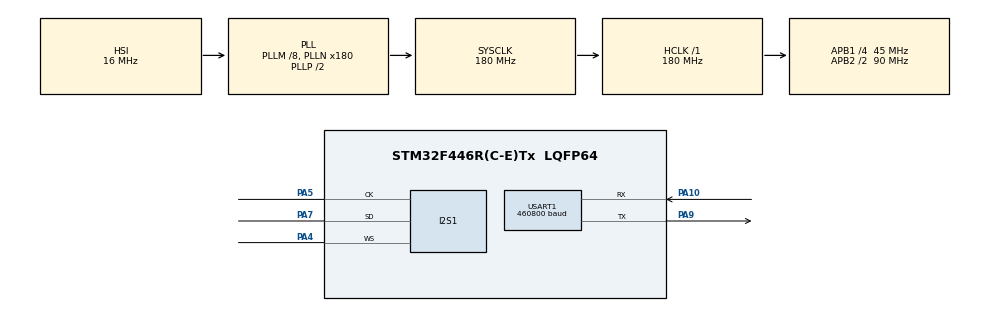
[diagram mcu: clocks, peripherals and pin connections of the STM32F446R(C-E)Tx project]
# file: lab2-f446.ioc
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Dma.Request0=SPI1_RX
Dma.Request1=USART1_TX
Dma.SPI1_RX.0.Direction=DMA_PERIPH_TO_MEMORY
Dma.SPI1_RX.0.FIFOMode=DMA_FIFOMODE_DISABLE
Dma.SPI1_RX.0.Instance=DMA2_Stream2
Dma.SPI1_RX.0.MemDataAlignment=DMA_MDATAALIGN_HALFWORD
Dma.SPI1_RX.0.MemInc=DMA_MINC_ENABLE
Dma.SPI1_RX.0.Mode=DMA_CIRCULAR
Dma.SPI1_RX.0.PeriphDataAlignment=DMA_PDATAALIGN_HALFWORD
Dma.SPI1_RX.0.PeriphInc=DMA_PINC_DISABLE
Dma.SPI1_RX.0.Priority=DMA_PRIORITY_LOW
Dma.USART1_TX.1.Direction=DMA_MEMORY_TO_PERIPH
Dma.USART1_TX.1.FIFOMode=DMA_FIFOMODE_DISABLE
Dma.USART1_TX.1.Instance=DMA2_Stream7
Dma.USART1_TX.1.MemDataAlignment=DMA_MDATAALIGN_BYTE
Dma.USART1_TX.1.MemInc=DMA_MINC_ENABLE
Dma.USART1_TX.1.Mode=DMA_NORMAL
Dma.USART1_TX.1.PeriphDataAlignment=DMA_PDATAALIGN_BYTE
Dma.USART1_TX.1.PeriphInc=DMA_PINC_DISABLE
Dma.USART1_TX.1.Priority=DMA_PRIORITY_LOW
I2S1.AudioFreq=I2S_AUDIOFREQ_16K
I2S1.DataFormat=I2S_DATAFORMAT_24B
I2S1.ErrorAudioFreq=-0.26 %
I2S1.FullDuplexMode=I2S_FULLDUPLEXMODE_DISABLE
I2S1.Instance=SPI$Index
I2S1.Mode=I2S_MODE_MASTER_RX
I2S1.RealAudioFreq=15.957 KHz
I2S1.VirtualMode=I2S_MODE_MASTER
Mcu.Family=STM32F4
Mcu.Name=STM32F446R(C-E)Tx
Mcu.Package=LQFP64
NVIC.DMA2_Stream2_IRQn=true\:0\:0\:false\:false\:true\:false\:true\:true
NVIC.DMA2_Stream7_IRQn=true\:0\:0\:false\:false\:true\:false\:true\:true
NVIC.PriorityGroup=NVIC_PRIORITYGROUP_4
NVIC.SPI1_IRQn=true\:0\:0\:false\:false\:true\:true\:true\:true
NVIC.USART1_IRQn=true\:0\:0\:false\:false\:true\:false\:true\:true
PA10.Mode=Asynchronous
PA10.Signal=USART1_RX
PA13.Mode=Serial_Wire
PA13.Signal=SYS_JTMS-SWDIO
PA14.Mode=Serial_Wire
PA14.Signal=SYS_JTCK-SWCLK
PA4.Mode=Half_Duplex_Master
PA4.Signal=I2S1_WS
PA5.Mode=Half_Duplex_Master
PA5.Signal=I2S1_CK
PA7.Mode=Half_Duplex_Master
PA7.Signal=I2S1_SD
PA9.Mode=Asynchronous
PA9.Signal=USART1_TX
PC14-OSC32_IN.Mode=LSE-External-Oscillator
PC14-OSC32_IN.Signal=RCC_OSC32_IN
PC15-OSC32_OUT.Mode=LSE-External-Oscillator
PC15-OSC32_OUT.Signal=RCC_OSC32_OUT
PH0-OSC_IN.Mode=HSE-External-Oscillator
PH0-OSC_IN.Signal=RCC_OSC_IN
PH1-OSC_OUT.Mode=HSE-External-Oscillator
PH1-OSC_OUT.Signal=RCC_OSC_OUT
ProjectManager.HeapSize=0x200
ProjectManager.StackSize=0x400
ProjectManager.TargetToolchain=CMake
RCC.AHBFreq_Value=180000000
RCC.APB1CLKDivider=RCC_HCLK_DIV4
RCC.APB1Freq_Value=45000000
RCC.APB1TimFreq_Value=90000000
RCC.APB2CLKDivider=RCC_HCLK_DIV2
RCC.APB2Freq_Value=90000000
RCC.APB2TimFreq_Value=180000000
RCC.CortexFreq_Value=180000000
RCC.HCLKFreq_Value=180000000
RCC.PLLM=8
RCC.PLLN=180
RCC.SYSCLKFreq_VALUE=180000000
RCC.SYSCLKSource=RCC_SYSCLKSOURCE_PLLCLK
RCC.USBFreq_Value=180000000
RCC.VCOOutputFreq_Value=360000000
USART1.BaudRate=460800
USART1.VirtualMode=VM_ASYNC
board=custom

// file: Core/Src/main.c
/* USER CODE BEGIN Header */
/**
  ******************************************************************************
  * @file           : main.c
  * @brief          : Main program body
  ******************************************************************************
  * @attention
  *
  * Copyright (c) 2026 STMicroelectronics.
  * All rights reserved.
  *
  * This software is licensed under terms that can be found in the LICENSE file
  * in the root directory of this software component.
  * If no LICENSE file comes with this software, it is provided AS-IS.
  *
  ******************************************************************************
  */
/* USER CODE END Header */
#include "main.h"

/* USER CODE BEGIN Includes */

#include "arm_math.h"
#include <stdio.h>

/* USER CODE END Includes */

/* USER CODE BEGIN PD */

#define FFT_SAMPLES 512
#define I2S_BUFFER_SIZE (FFT_SAMPLES * 8)

/* USER CODE END PD */

I2S_HandleTypeDef hi2s1;
DMA_HandleTypeDef hdma_spi1_rx;

UART_HandleTypeDef huart1;
DMA_HandleTypeDef hdma_usart1_tx;

/* USER CODE BEGIN PV */

int16_t i2sRxBuffer[I2S_BUFFER_SIZE];

float32_t fftInputBuffer[FFT_SAMPLES];
float32_t fftOutputBuffer[FFT_SAMPLES];
float32_t fftMagnitudeBuffer[FFT_SAMPLES / 2];
float32_t windowBuffer[FFT_SAMPLES];

arm_rfft_fast_instance_f32 fftHandler;

volatile uint8_t dataReadyFlag = 0;
volatile uint8_t bufferOffset = 0;

/* USER CODE END PV */

void SystemClock_Config(void);
static void MX_GPIO_Init(void);
static void MX_DMA_Init(void);
static void MX_I2S1_Init(void);
static void MX_USART1_UART_Init(void);
/* USER CODE BEGIN PFP */

void DSP_Init(void);
void ProcessAudioData(void);

/* USER CODE END PFP */

/* USER CODE BEGIN 0 */

void DSP_Init(void)
{
    arm_rfft_fast_init_f32(&fftHandler, FFT_SAMPLES);

    for (uint32_t i = 0; i < FFT_SAMPLES; i++)
    {
        windowBuffer[i] = 0.5f * (1.0f - arm_cos_f32(2.0f * PI * (float32_t)i / (float32_t)(FFT_SAMPLES - 1)));
    }
}

void ProcessAudioData(void)
{
    uint32_t startIndex = (bufferOffset == 1) ? (I2S_BUFFER_SIZE / 2) : 0;

    for (uint32_t i = 0; i < FFT_SAMPLES; i++)
    {
        uint32_t index = startIndex + (i * 4);
        int16_t msb = i2sRxBuffer[index];
        uint16_t lsb = (uint16_t)i2sRxBuffer[index + 1];

        int32_t combined = ((int32_t)msb << 16) | lsb;
        fftInputBuffer[i] = (float32_t)(combined >> 8);
    }

    float32_t sum = 0.0f;
    for (uint32_t i = 0; i < FFT_SAMPLES; i++) sum += fftInputBuffer[i];
    float32_t meanValue = sum / (float32_t)FFT_SAMPLES;
    for (uint32_t i = 0; i < FFT_SAMPLES; i++) fftInputBuffer[i] -= meanValue;

    arm_mult_f32(fftInputBuffer, windowBuffer, fftInputBuffer, FFT_SAMPLES);
    arm_rfft_fast_f32(&fftHandler, fftInputBuffer, fftOutputBuffer, 0);
    arm_cmplx_mag_f32(fftOutputBuffer, fftMagnitudeBuffer, FFT_SAMPLES / 2);

    dataReadyFlag = 0;
}

void SendSpectrum_UART(void)
{
    char uartBuf[16];
    uint16_t len;
    for (uint32_t i = 0; i < (FFT_SAMPLES / 2); i++)
    {
        uint32_t magnitude = (uint32_t)fftMagnitudeBuffer[i];
        if (i == (FFT_SAMPLES / 2) - 1)
            len = snprintf(uartBuf, sizeof(uartBuf), "%lu\r\n", magnitude);
        else
            len = snprintf(uartBuf, sizeof(uartBuf), "%lu,", magnitude);
        HAL_UART_Transmit(&huart1, (uint8_t *)uartBuf, len, HAL_MAX_DELAY);
    }
}

void HAL_I2S_RxHalfCpltCallback(I2S_HandleTypeDef *hi2s)
{
    if (hi2s->Instance == SPI1)
    {
        bufferOffset = 0;
        dataReadyFlag = 1;
    }
}

void HAL_I2S_RxCpltCallback(I2S_HandleTypeDef *hi2s)
{
    if (hi2s->Instance == SPI1)
    {
        bufferOffset = 1;
        dataReadyFlag = 1;
    }
}

/* USER CODE END 0 */

int main(void)
{

  /* MCU Configuration--------------------------------------------------------*/

  /* Reset of all peripherals, Initializes the Flash interface and the Systick. */
  HAL_Init();

  /* Configure the system clock */
  SystemClock_Config();

  /* Initialize all configured peripherals */
  MX_GPIO_Init();
  MX_DMA_Init();
  MX_I2S1_Init();
  MX_USART1_UART_Init();
  /* USER CODE BEGIN 2 */

  DSP_Init();
  HAL_I2S_Receive_DMA(&hi2s1, (uint16_t *)i2sRxBuffer, I2S_BUFFER_SIZE / 2);

  /* USER CODE END 2 */

  /* Infinite loop */
  /* USER CODE BEGIN WHILE */
  while (1)
  {
    if (dataReadyFlag == 1)
    {
        ProcessAudioData();
        SendSpectrum_UART();
    }
    /* USER CODE END WHILE */

  }
}

void SystemClock_Config(void)
{
  RCC_OscInitTypeDef RCC_OscInitStruct = {0};
  RCC_ClkInitTypeDef RCC_ClkInitStruct = {0};

  /** Configure the main internal regulator output voltage
  */
  __HAL_RCC_PWR_CLK_ENABLE();
  __HAL_PWR_VOLTAGESCALING_CONFIG(PWR_REGULATOR_VOLTAGE_SCALE1);

  /** Initializes the RCC Oscillators according to the specified parameters
  * in the RCC_OscInitTypeDef structure.
  */
  RCC_OscInitStruct.OscillatorType = RCC_OSCILLATORTYPE_HSI;
  RCC_OscInitStruct.HSIState = RCC_HSI_ON;
  RCC_OscInitStruct.HSICalibrationValue = RCC_HSICALIBRATION_DEFAULT;
  RCC_OscInitStruct.PLL.PLLState = RCC_PLL_ON;
  RCC_OscInitStruct.PLL.PLLSource = RCC_PLLSOURCE_HSI;
  RCC_OscInitStruct.PLL.PLLM = 8;
  RCC_OscInitStruct.PLL.PLLN = 180;
  RCC_OscInitStruct.PLL.PLLP = RCC_PLLP_DIV2;
  RCC_OscInitStruct.PLL.PLLQ = 2;
  RCC_OscInitStruct.PLL.PLLR = 2;
  if (HAL_RCC_OscConfig(&RCC_OscInitStruct) != HAL_OK)
  {
    Error_Handler();
  }

  /** Activate the Over-Drive mode
  */
  if (HAL_PWREx_EnableOverDrive() != HAL_OK)
  {
    Error_Handler();
  }

  /** Initializes the CPU, AHB and APB buses clocks
  */
  RCC_ClkInitStruct.ClockType = RCC_CLOCKTYPE_HCLK|RCC_CLOCKTYPE_SYSCLK
                              |RCC_CLOCKTYPE_PCLK1|RCC_CLOCKTYPE_PCLK2;
  RCC_ClkInitStruct.SYSCLKSource = RCC_SYSCLKSOURCE_PLLCLK;
  RCC_ClkInitStruct.AHBCLKDivider = RCC_SYSCLK_DIV1;
  RCC_ClkInitStruct.APB1CLKDivider = RCC_HCLK_DIV4;
  RCC_ClkInitStruct.APB2CLKDivider = RCC_HCLK_DIV2;

  if (HAL_RCC_ClockConfig(&RCC_ClkInitStruct, FLASH_LATENCY_5) != HAL_OK)
  {
    Error_Handler();
  }
}

static void MX_I2S1_Init(void)
{

  hi2s1.Instance = SPI1;
  hi2s1.Init.Mode = I2S_MODE_MASTER_RX;
  hi2s1.Init.Standard = I2S_STANDARD_PHILIPS;
  hi2s1.Init.DataFormat = I2S_DATAFORMAT_24B;
  hi2s1.Init.MCLKOutput = I2S_MCLKOUTPUT_DISABLE;
  hi2s1.Init.AudioFreq = I2S_AUDIOFREQ_16K;
  hi2s1.Init.CPOL = I2S_CPOL_LOW;
  hi2s1.Init.ClockSource = I2S_CLOCK_PLL;
  hi2s1.Init.FullDuplexMode = I2S_FULLDUPLEXMODE_DISABLE;
  if (HAL_I2S_Init(&hi2s1) != HAL_OK)
  {
    Error_Handler();
  }

}

static void MX_USART1_UART_Init(void)
{

  huart1.Instance = USART1;
  huart1.Init.BaudRate = 460800;
  huart1.Init.WordLength = UART_WORDLENGTH_8B;
  huart1.Init.StopBits = UART_STOPBITS_1;
  huart1.Init.Parity = UART_PARITY_NONE;
  huart1.Init.Mode = UART_MODE_TX_RX;
  huart1.Init.HwFlowCtl = UART_HWCONTROL_NONE;
  huart1.Init.OverSampling = UART_OVERSAMPLING_16;
  if (HAL_UART_Init(&huart1) != HAL_OK)
  {
    Error_Handler();
  }

}

static void MX_DMA_Init(void)
{

  /* DMA controller clock enable */
  __HAL_RCC_DMA2_CLK_ENABLE();

  /* DMA interrupt init */
  /* DMA2_Stream2_IRQn interrupt configuration */
  HAL_NVIC_SetPriority(DMA2_Stream2_IRQn, 0, 0);
  HAL_NVIC_EnableIRQ(DMA2_Stream2_IRQn);
  /* DMA2_Stream7_IRQn interrupt configuration */
  HAL_NVIC_SetPriority(DMA2_Stream7_IRQn, 0, 0);
  HAL_NVIC_EnableIRQ(DMA2_Stream7_IRQn);

}

static void MX_GPIO_Init(void)
{

  /* GPIO Ports Clock Enable */
  __HAL_RCC_GPIOC_CLK_ENABLE();
  __HAL_RCC_GPIOH_CLK_ENABLE();
  __HAL_RCC_GPIOA_CLK_ENABLE();

}

void Error_Handler(void)
{
  __disable_irq();
  while (1)
  {
  }
}
